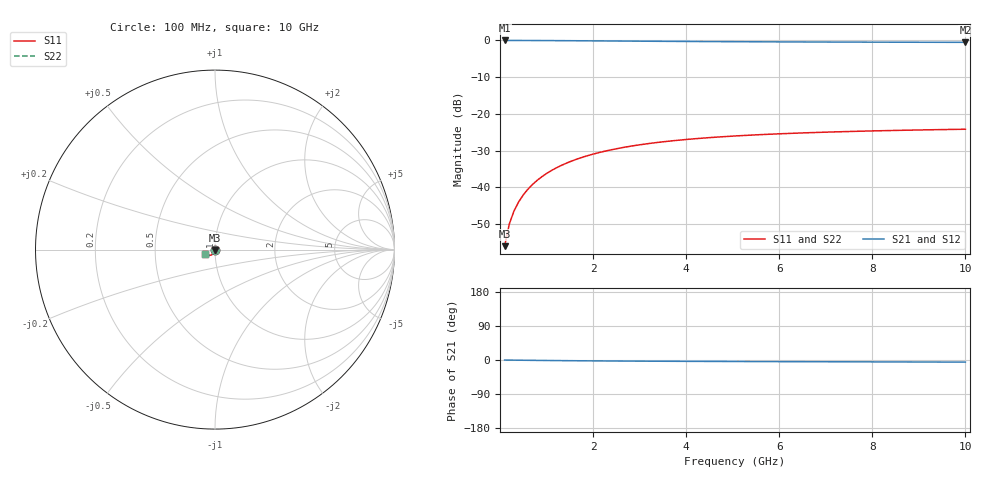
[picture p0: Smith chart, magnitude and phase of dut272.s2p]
! Touchstone file exported from HFSS 2024.1.0
!  File:  C:/UserFiles/LocalFiles/RDL_TSV_Batchsim/temp_TSV1_272_1779392462.aedt
!  Generated:  03:45:20 AM May 22, 2026
!  Design:  TSV1
!  Project:  temp_TSV1_272_1779392462
!  Setup:  Setup1
!  Solution:  Sweep
! Variables:
!  dtsv = 11.27um
!  hbump = 3um
!  htsv = 87.02um
!  lrdl = 252.1521522um
!  p = 40
!  p1 = 40.53um
!  t = 500um
!  trdl = 3um
!  wrdl = 24.89489489um
# GHz S MA R 50.000000
! Terminal data exported
! Port[1] = TSV22_T1
! Port[2] = TSV22_T2
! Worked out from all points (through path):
!   100 points, 100 MHz to 10 GHz, reference 50 ohm
!   highest |S21| = 0.00 dB at 100 MHz (marker M1); lowest = -0.5 dB at 10 GHz (marker M2)
!   lowest |S11| = -56.0 dB at 100 MHz (marker M3), VSWR 1.00, Z = 50 - j0.158 ohm
!   |S11| at or under -10 dB: start of sweep to end of sweep
!   |S22| runs from -56.0 to -24.2 dB; largest |S21 - S12| = 2.2e-15
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0.1  0.00158 -86.9  0.9998 -0.1  0.9998 -0.1  0.00158 -86.9
! Gamma 0 0 0 0
! Port Impedance 50 0 50 0
0.2  0.003154 -90.4  0.9997 -0.3  0.9997 -0.3  0.003154 -90.4
0.3  0.00473 -92.6  0.9995 -0.4  0.9995 -0.4  0.00473 -92.6
0.4  0.006303 -94.4  0.9992 -0.5  0.9992 -0.5  0.006303 -94.4
0.5  0.007866 -96.0  0.9988 -0.7  0.9988 -0.7  0.007866 -96.0
0.6  0.009415 -97.6  0.9984 -0.8  0.9984 -0.8  0.009415 -97.6
0.7  0.01095 -99.2  0.9979 -0.9  0.9979 -0.9  0.01095 -99.2
0.8  0.01246 -100.7  0.9973 -1.0  0.9973 -1.0  0.01246 -100.7
0.9  0.01395 -102.1  0.9967 -1.2  0.9967 -1.2  0.01395 -102.1
1.1  0.01684 -105.0  0.9953 -1.4  0.9953 -1.4  0.01684 -105.0
1.4  0.02096 -109.1  0.9928 -1.7  0.9928 -1.7  0.02096 -109.1
1.6  0.02355 -111.6  0.991 -1.9  0.991 -1.9  0.02355 -111.6
1.8  0.026 -114.1  0.9892 -2.1  0.9892 -2.1  0.026 -114.1
2.1  0.02941 -117.6  0.9862 -2.4  0.9862 -2.4  0.02941 -117.6
2.5  0.0335 -121.8  0.9823 -2.7  0.9823 -2.7  0.0335 -121.8
2.9  0.03708 -125.7  0.9784 -3.0  0.9784 -3.0  0.03708 -125.7
3.4  0.04094 -129.9  0.9738 -3.2  0.9738 -3.2  0.04094 -129.9
4.2  0.04593 -135.8  0.9673 -3.6  0.9673 -3.6  0.04593 -135.8
5.1  0.05022 -141.1  0.9612 -4.0  0.9612 -4.0  0.05022 -141.1
6.7  0.0556 -148.3  0.9529 -4.5  0.9529 -4.5  0.0556 -148.3
8.4  0.05936 -154.1  0.9468 -5.1  0.9468 -5.1  0.05936 -154.1
10  0.06181 -158.3  0.9426 -5.6  0.9426 -5.6  0.06181 -158.3
